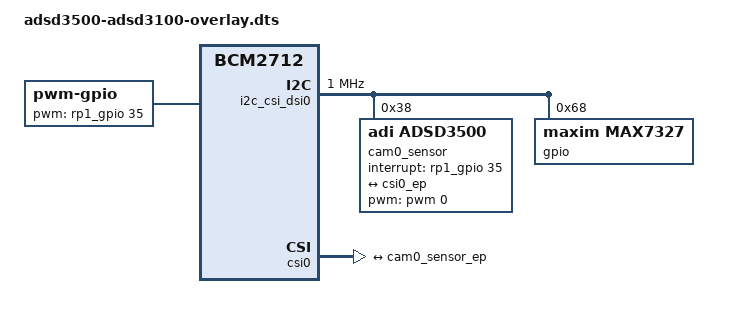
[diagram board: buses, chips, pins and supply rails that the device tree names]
// SPDX-License-Identifier: GPL-2.0-only
/dts-v1/;
/plugin/;

/ {
    compatible = "brcm,bcm2712";

    fragment@0 {
        target = <&i2c_csi_dsi0>;
        __overlay__ {
            #address-cells = <1>;
            #size-cells = <0>;
            status = "okay";
	    clock-frequency = <1000000>;

            cam0_sensor: adsd3500@38 {
                compatible = "adi,adsd3500";
                reg = <0x38>;
                status = "okay";
		interrupt-gpios = <&rp1_gpio 35 0>;
		pwms = <&pwm 0 50000000>; /* PWM for fsync */
		pwm-names = "fsync";
                port {
                    cam0_sensor_ep: endpoint {
                        remote-endpoint = <&csi0_ep>;
                        data-lanes = <1 2>;
                        clock-lanes = <0>;
                        link-frequencies = /bits/ 64 <732000000>;
                    };
                };
            };
        };
    };

    fragment@1 {
        target = <&csi0>;
        __overlay__ {
            status = "okay";

            port {
                csi0_ep: endpoint {
                    remote-endpoint = <&cam0_sensor_ep>;
                    clock-lanes = <0>;
                    data-lanes = <1 2>;
                    clock-noncontinuous;
                };
            };
        };
    };

    fragment@2 {
        target = <&i2c_csi_dsi0>;
        __overlay__ {
            gpio@68 {
                compatible = "maxim,max7327";
                reg = <0x68>;
                status = "okay";
                gpio-controller;
                #gpio-cells = <2>;
                gpio-line-names = "EN_1P8", "EN_0P8", "P2", "I2CM_SEL",
                                  "ISP_BS3/ISP_INT", "NET_HOST_IO_SEL", "ISP_BS0",
                                  "ISP_BS1", "HOST_IO_DIR", "ISP_BS4", "ISP_BS5",
                                  "FSYNC_DIR", "EN_VAUX", "EN_VAUX_LS", "EN_SYS";
            };
        };
    };

    fragment@3 {
	target-path = "/";
	__overlay__ {
		pwm: pwm-gpio {
			compatible = "pwm-gpio";
			#pwm-cells = <2>;
			status = "okay";
			pwm-gpios = <&rp1_gpio 35 0>;  /* CAM0_CLK GPIO */
		};
	};
    };

    fragment@4 {
	target-path = "/chosen";
	__overlay__ {
		overlay-name = "adi_dual_adsd3500_adsd3100";
	};
    };
};
